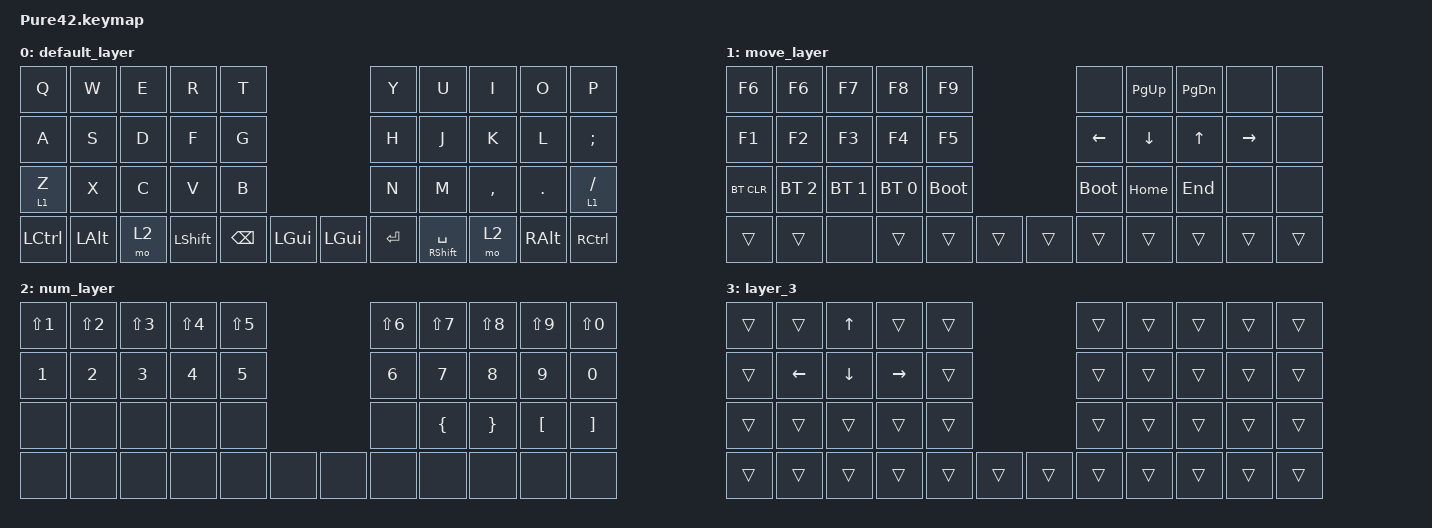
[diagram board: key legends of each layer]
/*
 * Copyright (c) 2020 The ZMK Contributors
 *
 * SPDX-License-Identifier: MIT
 */

#include <behaviors.dtsi>
#include <dt-bindings/zmk/bt.h>
#include <dt-bindings/zmk/keys.h>

/ {
    behaviors {
        hm: homerow_mods {
            compatible = "zmk,behavior-hold-tap";
            label = "HOMEROW_MODS";
            #binding-cells = <2>;
            tapping-term-ms = <300>;
            quick-tap-ms = <200>;
            flavor = "tap-preferred";
            bindings = <&kp>, <&kp>;
        };
    };

    combos {
        compatible = "zmk,combos";

        a {
            bindings = <&kp ESCAPE>;
            key-positions = <1 0>;
        };

        b {
            bindings = <&kp TAB>;
            key-positions = <11 10>;
        };

        c {
            bindings = <&kp CAPSLOCK>;
            key-positions = <21 20>;
        };

        d {
            bindings = <&kp BACKSLASH>;
            key-positions = <9 8>;
        };

        e {
            bindings = <&kp SINGLE_QUOTE>;
            key-positions = <19 18>;
        };

        f {
            bindings = <&kp EQUAL>;
            key-positions = <11 12>;
        };

        g {
            bindings = <&kp MINUS>;
            key-positions = <17 18>;
        };

        ToggleNum {
            bindings = <&tog 2>;
            key-positions = <32 39>;
        };

        tilde {
            bindings = <&kp GRAVE>;
            key-positions = <29 28>;
        };
    };

    keymap {
        compatible = "zmk,keymap";

        default_layer {
            bindings = <
&kp Q             &kp W         &kp E  &kp R           &kp T                                      &kp Y      &kp U                  &kp I      &kp O          &kp P
&kp A             &kp S         &kp D  &kp F           &kp G                                      &kp H      &kp J                  &kp K      &kp L          &kp SEMI
&lt 1 Z           &kp X         &kp C  &kp V           &kp B                                      &kp N      &kp M                  &kp COMMA  &kp DOT        &lt 1 SLASH
&kp LEFT_CONTROL  &kp LEFT_ALT  &mo 2  &kp LEFT_SHIFT  &kp BACKSPACE  &kp LEFT_GUI  &kp LEFT_GUI  &kp ENTER  &mt RIGHT_SHIFT SPACE  &mo 2      &kp RIGHT_ALT  &kp RIGHT_CONTROL
            >;
        };

        move_layer {
            bindings = <
&kp F6      &kp F6        &kp F7        &kp F8        &kp F9                       &none        &kp PAGE_UP  &kp PAGE_DOWN  &none      &none
&kp F1      &kp F2        &kp F3        &kp F4        &kp F5                       &kp LEFT     &kp DOWN     &kp UP_ARROW   &kp RIGHT  &none
&bt BT_CLR  &bt BT_SEL 2  &bt BT_SEL 1  &bt BT_SEL 0  &bootloader                  &bootloader  &kp HOME     &kp END        &none      &none
&trans      &trans        &none         &trans        &trans       &trans  &trans  &trans       &trans       &trans         &trans     &trans
            >;
        };

        num_layer {
            bindings = <
&kp LS(N1)  &kp LS(N2)  &kp LS(N3)  &kp LS(N4)  &kp LS(N5)                &kp LS(N6)    &kp LS(N7)      &kp LS(N8)       &kp LS(N9)        &kp LS(N0)
&kp N1      &kp N2      &kp N3      &kp N4      &kp N5                    &kp NUMBER_6  &kp N7          &kp N8           &kp N9            &kp N0
&none       &none       &none       &none       &none                     &none         &kp LEFT_BRACE  &kp RIGHT_BRACE  &kp LEFT_BRACKET  &kp RIGHT_BRACKET
&none       &none       &none       &none       &none       &none  &none  &none         &none           &none            &none             &none
            >;
        };

        layer_3 {
            bindings = <
&trans  &trans          &kp UP_ARROW    &trans     &trans                  &trans  &trans  &trans  &trans  &trans
&trans  &kp LEFT_ARROW  &kp DOWN_ARROW  &kp RIGHT  &trans                  &trans  &trans  &trans  &trans  &trans
&trans  &trans          &trans          &trans     &trans                  &trans  &trans  &trans  &trans  &trans
&trans  &trans          &trans          &trans     &trans  &trans  &trans  &trans  &trans  &trans  &trans  &trans
            >;
        };
    };
};
